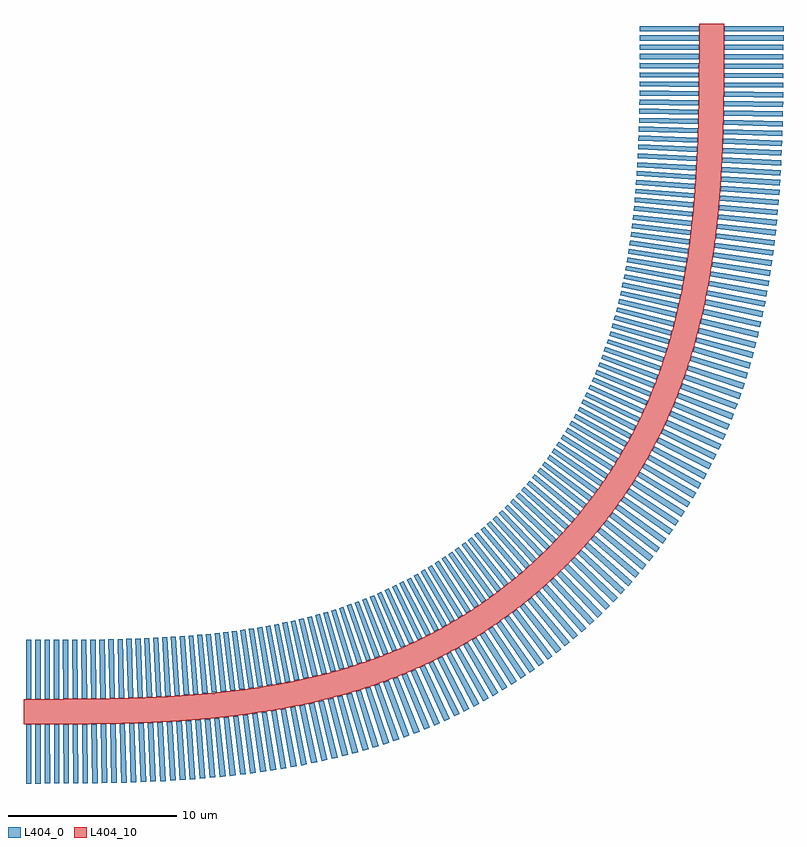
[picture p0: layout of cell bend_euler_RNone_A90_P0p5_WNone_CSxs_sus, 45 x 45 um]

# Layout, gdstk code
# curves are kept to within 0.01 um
import gdstk
lib = gdstk.Library(unit=1e-6, precision=1e-09)
def P(c, l, *ps):  # polygons
    for p in ps: c.add(gdstk.Polygon(p, *l))
L404_0 = (404, 0)
L404_10 = (404, 10)

bend_euler_rnone_a90_p0p = lib.new_cell('bend_euler_RNone_A90_P0p5_WNone_CSxs_sus')
P(bend_euler_rnone_a90_p0p, L404_0, [(22.511,-1.533),(21.313,1.756),(21.619,1.869),(22.852,-1.406)],
  [(23.114,-1.307),(21.854,1.959),(22.159,2.078),(23.454,-1.173)],
  [(23.715,-1.068),(22.393,2.172),(22.695,2.298),(24.053,-0.928)],
  [(22.333,3.774),(20.948,6.988),(21.197,7.097),(22.618,3.899)],
  [(22.836,3.997),(21.388,7.183),(21.635,7.297),(23.118,4.127)],
  [(23.334,4.229),(21.824,7.386),(22.069,7.505),(23.614,4.365)],
  [(23.828,4.471),(22.256,7.598),(22.499,7.722),(24.105,4.612)],
  [(36.138,16.645),(33.028,18.251),(33.152,18.494),(36.279,16.922)],
  [(36.385,17.136),(33.245,18.681),(33.364,18.926),(36.521,17.416)],
  [(36.623,17.632),(33.453,19.115),(33.567,19.362),(36.753,17.914)],
  [(36.851,18.132),(33.653,19.553),(33.762,19.802),(36.976,18.417)],
  [(41.678,16.697),(38.452,18.055),(38.578,18.357),(41.818,17.035)],
  [(41.923,17.296),(38.672,18.591),(38.791,18.896),(42.057,17.636)],
  [(42.156,17.898),(38.881,19.131),(38.994,19.437),(42.283,18.239)],
  [(37.07,18.637),(33.844,19.995),(33.948,20.246),(37.189,18.924)],
  [(37.477,19.659),(34.201,20.891),(34.296,21.148),(37.585,19.95)],
  [(37.278,19.146),(34.026,20.441),(34.126,20.695),(37.392,19.435)],
  [(37.666,20.175),(34.368,21.347),(34.458,21.607),(37.768,20.469)],
  [(42.377,18.501),(39.079,19.673),(39.187,19.981),(42.496,18.843)],
  [(37.845,20.695),(34.526,21.807),(34.613,22.069),(37.942,20.99)],
  [(42.586,19.106),(39.267,20.219),(39.369,20.528),(42.699,19.449)],
  [(38.015,21.218),(34.678,22.272),(34.76,22.537),(38.107,21.515)],
  [(42.783,19.713),(39.446,20.767),(39.542,21.077),(42.89,20.056)],
  [(38.176,21.744),(34.821,22.741),(34.899,23.008),(38.263,22.042)],
  [(42.969,20.32),(39.614,21.317),(39.705,21.629),(43.069,20.663)],
  [(38.329,22.273),(34.958,23.214),(35.031,23.483),(38.411,22.572)],
  [(43.144,20.928),(39.773,21.869),(39.859,22.182),(43.239,21.272)],
  [(38.472,22.803),(35.087,23.691),(35.156,23.962),(38.55,23.105)],
  [(43.309,21.536),(39.923,22.423),(40.004,22.737),(43.397,21.88)],
  [(38.607,23.337),(35.208,24.171),(35.274,24.444),(38.68,23.639)],
  [(43.463,22.144),(40.064,22.979),(40.14,23.294),(43.546,22.488)],
  [(38.735,23.872),(35.323,24.655),(35.385,24.93),(38.803,24.175)],
  [(43.608,22.753),(40.197,23.536),(40.268,23.851),(43.685,23.096)],
  [(38.854,24.409),(35.432,25.142),(35.49,25.419),(38.918,24.713)],
  [(43.743,23.361),(40.32,24.094),(40.387,24.41),(43.815,23.704)],
  [(38.965,24.947),(35.533,25.633),(35.588,25.911),(39.025,25.252)],
  [(43.868,23.968),(40.436,24.653),(40.498,24.97),(43.935,24.311)],
  [(39.069,25.487),(35.628,26.126),(35.679,26.406),(39.125,25.793)],
  [(43.985,24.574),(40.544,25.213),(40.602,25.53),(44.048,24.917)],
  [(39.166,26.029),(35.717,26.623),(35.764,26.904),(39.218,26.335)],
  [(44.094,25.18),(40.644,25.774),(40.698,26.091),(44.151,25.522)],
  [(39.256,26.571),(35.8,27.122),(35.844,27.405),(39.304,26.878)],
  [(44.194,25.785),(40.737,26.335),(40.787,26.653),(44.247,26.126)],
  [(39.339,27.115),(35.876,27.624),(35.917,27.908),(39.383,27.423)],
  [(44.286,26.388),(40.823,26.897),(40.869,27.214),(44.335,26.729)],
  [(39.416,27.66),(35.948,28.128),(35.985,28.414),(39.457,27.968)],
  [(44.371,26.99),(40.903,27.459),(40.944,27.776),(44.416,27.33)],
  [(39.487,28.205),(36.013,28.635),(36.048,28.923),(39.524,28.514)],
  [(44.449,27.591),(40.975,28.021),(41.014,28.338),(44.49,27.929)],
  [(39.551,28.751),(36.073,29.144),(36.105,29.433),(39.585,29.06)],
  [(44.52,28.19),(41.042,28.583),(41.077,28.9),(44.557,28.527)],
  [(39.61,29.298),(36.129,29.656),(36.158,29.946),(39.641,29.607)],
  [(44.584,28.787),(41.102,29.145),(41.134,29.462),(44.618,29.124)],
  [(39.664,29.845),(36.179,30.17),(36.205,30.461),(39.692,30.155)],
  [(44.642,29.382),(41.157,29.706),(41.186,30.024),(44.673,29.718)],
  [(39.712,30.393),(36.224,30.686),(36.248,30.978),(39.737,30.703)],
  [(44.695,29.976),(41.207,30.268),(41.233,30.585),(44.722,30.31)],
  [(39.756,30.942),(36.266,31.203),(36.287,31.497),(39.778,31.252)],
  [(44.742,30.567),(41.252,30.829),(41.275,31.146),(44.766,30.901)],
  [(39.795,31.49),(36.302,31.723),(36.321,32.018),(39.815,31.8)],
  [(44.784,31.157),(41.291,31.39),(41.312,31.707),(44.805,31.489)],
  [(39.829,32.039),(36.335,32.245),(36.352,32.541),(39.847,32.349)],
  [(44.82,31.744),(41.327,31.951),(41.345,32.267),(44.839,32.075)],
  [(39.86,32.588),(36.364,32.769),(36.379,33.066),(39.875,32.899)],
  [(44.853,32.33),(41.358,32.511),(41.373,32.827),(44.869,32.659)],
  [(39.886,33.138),(36.39,33.295),(36.403,33.593),(39.9,33.448)],
  [(44.881,32.913),(41.385,33.07),(41.398,33.386),(44.895,33.241)],
  [(39.909,33.687),(36.412,33.822),(36.423,34.121),(39.921,33.998)],
  [(44.905,33.494),(41.408,33.629),(41.42,33.945),(44.917,33.821)],
  [(39.929,34.237),(36.431,34.352),(36.44,34.652),(39.938,34.547)],
  [(44.926,34.072),(41.428,34.187),(41.438,34.503),(44.936,34.398)],
  [(39.945,34.787),(36.447,34.883),(36.455,35.184),(39.953,35.097)],
  [(44.943,34.649),(41.445,34.745),(41.453,35.06),(44.952,34.974)],
  [(39.959,35.336),(36.46,35.416),(36.466,35.718),(39.966,35.647)],
  [(44.958,35.223),(41.459,35.302),(41.465,35.617),(44.965,35.546)],
  [(39.97,35.886),(36.471,35.95),(36.476,36.253),(39.976,36.197)],
  [(44.97,35.795),(41.47,35.859),(41.476,36.173),(44.975,36.117)],
  [(39.979,36.436),(36.48,36.486),(36.484,36.79),(39.983,36.747)],
  [(44.979,36.364),(41.479,36.415),(41.483,36.728),(44.983,36.685)],
  [(39.986,36.986),(36.486,37.024),(36.49,37.329),(39.989,37.297)],
  [(44.986,36.931),(41.486,36.97),(41.489,37.283),(44.989,37.251)],
  [(39.991,37.536),(36.492,37.564),(36.494,37.87),(39.994,37.847)],
  [(44.991,37.496),(41.491,37.524),(41.494,37.837),(44.994,37.814)],
  [(39.995,38.086),(36.495,38.105),(36.497,38.412),(39.997,38.397)],
  [(44.995,38.059),(41.495,38.078),(41.497,38.39),(44.997,38.376)],
  [(39.998,38.636),(36.498,38.648),(36.499,38.956),(39.998,38.947)],
  [(44.998,38.619),(41.498,38.631),(41.498,38.943),(44.998,38.934)],
  [(39.999,39.186),(36.499,39.193),(36.499,39.501),(39.999,39.497)],
  [(44.999,39.177),(41.499,39.183),(41.499,39.495),(44.999,39.491)],
  [(40,39.736),(36.5,39.739),(36.5,40.048),(40,40.047)],
  [(45,39.732),(41.5,39.735),(41.5,40.046),(45,40.045)],
  [(40,40.286),(36.5,40.287),(36.5,40.597),(40,40.597)],
  [(45,40.285),(41.5,40.286),(41.5,40.597),(45,40.597)],
  [(4.003,0.767),(3.96,4.266),(4.264,4.27),(4.314,0.771)],
  [(4.065,-4.233),(4.022,-0.733),(4.335,-0.729),(4.386,-4.229)],
  [(4.553,0.774),(4.497,4.274),(4.8,4.279),(4.864,0.78)],
  [(4.633,-4.225),(4.577,-0.726),(4.891,-0.72),(4.955,-4.22)],
  [(5.103,0.784),(5.032,4.284),(5.334,4.29),(5.414,0.791)],
  [(5.204,-4.215),(5.133,-0.715),(5.448,-0.709),(5.527,-4.208)],
  [(5.653,0.797),(5.566,4.295),(5.867,4.303),(5.963,0.805)],
  [(5.776,-4.202),(5.69,-0.703),(6.005,-0.695),(6.101,-4.193)],
  [(6.203,0.812),(6.098,4.31),(6.398,4.319),(6.513,0.821)],
  [(6.352,-4.186),(6.247,-0.688),(6.563,-0.678),(6.678,-4.176)],
  [(6.752,0.829),(6.629,4.327),(6.928,4.338),(7.063,0.841)],
  [(6.929,-4.167),(6.805,-0.67),(7.121,-0.658),(7.256,-4.155)],
  [(7.302,0.85),(7.157,4.347),(7.455,4.36),(7.612,0.864)],
  [(7.509,-4.145),(7.364,-0.648),(7.68,-0.635),(7.837,-4.131)],
  [(7.851,0.875),(7.684,4.371),(7.981,4.386),(8.162,0.89)],
  [(8.091,-4.119),(7.923,-0.623),(8.239,-0.608),(8.42,-4.103)],
  [(8.401,0.903),(8.209,4.398),(8.505,4.415),(8.711,0.921)],
  [(8.675,-4.089),(8.483,-0.595),(8.799,-0.577),(9.006,-4.07)],
  [(8.95,0.935),(8.732,4.429),(9.027,4.448),(9.26,0.955)],
  [(9.261,-4.055),(9.043,-0.562),(9.36,-0.541),(9.593,-4.034)],
  [(9.498,0.972),(9.253,4.463),(9.547,4.484),(9.808,0.994)],
  [(9.849,-4.016),(9.604,-0.525),(9.921,-0.502),(10.183,-3.992)],
  [(10.047,1.013),(9.772,4.502),(10.064,4.526),(10.357,1.038)],
  [(10.44,-3.972),(10.165,-0.483),(10.482,-0.457),(10.774,-3.945)],
  [(10.595,1.058),(10.289,4.545),(10.58,4.571),(10.905,1.086)],
  [(11.032,-3.923),(10.726,-0.436),(11.044,-0.407),(11.368,-3.892)],
  [(11.143,1.109),(10.804,4.592),(11.094,4.621),(11.452,1.14)],
  [(11.626,-3.868),(11.288,-0.384),(11.605,-0.352),(11.963,-3.834)],
  [(11.69,1.165),(11.317,4.645),(11.606,4.677),(11.999,1.199)],
  [(12.223,-3.807),(11.85,-0.327),(12.167,-0.292),(12.56,-3.77)],
  [(12.236,1.226),(11.827,4.702),(12.115,4.737),(12.545,1.263)],
  [(12.821,-3.74),(12.412,-0.264),(12.729,-0.225),(13.159,-3.699)],
  [(12.782,1.293),(12.336,4.765),(12.622,4.802),(13.09,1.334)],
  [(13.42,-3.666),(12.974,-0.194),(13.291,-0.153),(13.76,-3.621)],
  [(13.327,1.367),(12.842,4.833),(13.126,4.874),(13.635,1.411)],
  [(14.021,-3.585),(13.536,-0.119),(13.853,-0.073),(14.362,-3.536)],
  [(13.872,1.446),(13.345,4.906),(13.628,4.95),(14.179,1.494)],
  [(14.624,-3.497),(14.097,-0.037),(14.415,0.013),(14.965,-3.444)],
  [(14.415,1.532),(13.846,4.986),(14.127,5.033),(14.721,1.584)],
  [(15.228,-3.401),(14.659,0.052),(14.976,0.106),(15.57,-3.344)],
  [(14.957,1.625),(14.344,5.071),(14.624,5.122),(15.263,1.681)],
  [(15.833,-3.298),(15.22,0.148),(15.537,0.206),(16.176,-3.235)],
  [(15.498,1.725),(14.839,5.162),(15.117,5.217),(15.803,1.785)],
  [(16.439,-3.185),(15.78,0.252),(16.097,0.314),(16.782,-3.118)],
  [(16.037,1.832),(15.331,5.26),(15.608,5.318),(16.341,1.896)],
  [(17.046,-3.065),(16.34,0.363),(16.656,0.43),(17.389,-2.993)],
  [(16.575,1.947),(15.82,5.365),(16.095,5.427),(16.878,2.015)],
  [(17.654,-2.935),(16.899,0.482),(17.214,0.553),(17.997,-2.858)],
  [(17.111,2.07),(16.306,5.476),(16.579,5.542),(17.413,2.143)],
  [(18.262,-2.796),(17.456,0.61),(17.771,0.686),(18.606,-2.713)],
  [(17.645,2.2),(16.788,5.594),(17.059,5.663),(17.947,2.278)],
  [(18.87,-2.647),(18.013,0.746),(18.327,0.827),(19.214,-2.559)],
  [(18.178,2.339),(17.267,5.719),(17.536,5.792),(18.477,2.421)],
  [(19.478,-2.489),(18.568,0.891),(18.881,0.977),(19.822,-2.394)],
  [(18.708,2.487),(17.742,5.851),(18.009,5.929),(19.006,2.574)],
  [(20.087,-2.319),(19.121,1.045),(19.433,1.136),(20.43,-2.219)],
  [(19.235,2.643),(18.213,5.99),(18.478,6.072),(19.532,2.735)],
  [(20.694,-2.14),(19.673,1.208),(19.983,1.304),(21.037,-2.033)],
  [(19.76,2.808),(18.681,6.137),(18.943,6.224),(20.055,2.905)],
  [(21.301,-1.949),(20.222,1.381),(20.531,1.483),(21.644,-1.836)],
  [(20.281,2.982),(19.143,6.292),(19.403,6.382),(20.575,3.084)],
  [(21.907,-1.746),(20.769,1.563),(21.077,1.671),(22.249,-1.627)],
  [(20.8,3.165),(19.602,6.454),(19.859,6.549),(21.091,3.273)],
  [(0.153,0.75),(0.153,4.25),(0.463,4.25),(0.464,0.75)],
  [(21.315,3.358),(20.055,6.624),(20.309,6.724),(21.604,3.472)],
  [(0.153,-4.25),(0.153,-0.75),(0.464,-0.75),(0.465,-4.25)],
  [(21.826,3.561),(20.504,6.802),(20.755,6.906),(22.113,3.68)],
  [(0.703,0.75),(0.702,4.25),(1.011,4.25),(1.014,0.75)],
  [(0.705,-4.25),(0.704,-0.75),(1.015,-0.75),(1.018,-4.25)],
  [(1.253,0.751),(1.249,4.251),(1.557,4.251),(1.564,0.751)],
  [(1.259,-4.249),(1.255,-0.749),(1.567,-0.749),(1.573,-4.249)],
  [(1.803,0.752),(1.794,4.251),(2.102,4.252),(2.114,0.752)],
  [(1.816,-4.248),(1.807,-0.748),(2.119,-0.748),(2.131,-4.248)],
  [(2.353,0.753),(2.338,4.253),(2.645,4.255),(2.664,0.755)],
  [(2.374,-4.247),(2.36,-0.747),(2.672,-0.745),(2.691,-4.245)],
  [(2.903,0.756),(2.88,4.256),(3.186,4.258),(3.214,0.759)],
  [(2.936,-4.244),(2.913,-0.744),(3.226,-0.741),(3.254,-4.241)],
  [(3.453,0.761),(3.421,4.26),(3.726,4.264),(3.764,0.764)],
  [(3.499,-4.239),(3.467,-0.739),(3.78,-0.736),(3.819,-4.236)],
  [(27.139,6.431),(25.153,9.313),(25.376,9.469),(27.394,6.609)],
  [(29.975,2.313),(27.99,5.196),(28.258,5.383),(30.276,2.523)],
  [(27.589,6.748),(25.547,9.59),(25.767,9.75),(27.84,6.93)],
  [(30.505,2.686),(28.464,5.529),(28.728,5.722),(30.802,2.902)],
  [(28.032,7.073),(25.935,9.875),(26.152,10.039),(28.28,7.26)],
  [(31.028,3.07),(28.931,5.872),(29.192,6.069),(31.32,3.291)],
  [(28.469,7.407),(26.317,10.167),(26.531,10.335),(28.713,7.599)],
  [(31.543,3.463),(29.391,6.223),(29.648,6.426),(31.831,3.69)],
  [(28.9,7.749),(26.694,10.467),(26.904,10.639),(29.14,7.946)],
  [(32.05,3.866),(29.845,6.584),(30.098,6.792),(32.333,4.099)],
  [(29.323,8.1),(27.065,10.774),(27.272,10.95),(29.56,8.302)],
  [(32.549,4.28),(30.291,6.954),(30.54,7.166),(32.828,4.518)],
  [(29.74,8.459),(27.429,11.088),(27.633,11.268),(29.972,8.665)],
  [(33.04,4.703),(30.73,7.332),(30.975,7.549),(33.314,4.946)],
  [(30.149,8.826),(27.788,11.409),(27.988,11.594),(30.378,9.037)],
  [(33.523,5.135),(31.162,7.719),(31.402,7.941),(33.792,5.384)],
  [(30.552,9.201),(28.14,11.737),(28.336,11.926),(30.776,9.416)],
  [(33.997,5.577),(31.585,8.114),(31.821,8.341),(34.261,5.831)],
  [(30.947,9.584),(28.485,12.072),(28.678,12.265),(31.166,9.803)],
  [(34.462,6.029),(32.001,8.517),(32.233,8.749),(34.721,6.288)],
  [(31.334,9.974),(28.824,12.414),(29.013,12.61),(31.549,10.198)],
  [(34.919,6.489),(32.409,8.929),(32.636,9.165),(35.173,6.753)],
  [(31.713,10.372),(29.156,12.762),(29.341,12.962),(31.924,10.601)],
  [(35.366,6.958),(32.809,9.348),(33.031,9.588),(35.615,7.227)],
  [(32.085,10.778),(29.482,13.117),(29.662,13.321),(32.291,11.01)],
  [(35.804,7.436),(33.201,9.775),(33.418,10.02),(36.047,7.71)],
  [(32.448,11.19),(29.8,13.478),(29.976,13.685),(32.65,11.427)],
  [(36.232,7.922),(33.584,10.21),(33.796,10.459),(36.47,8.201)],
  [(32.804,11.61),(30.111,13.846),(30.283,14.056),(33.001,11.85)],
  [(36.651,8.417),(33.958,10.652),(34.166,10.905),(36.884,8.7)],
  [(33.151,12.037),(30.415,14.219),(30.583,14.433),(33.343,12.281)],
  [(37.06,8.919),(34.324,11.102),(34.527,11.359),(37.287,9.207)],
  [(33.49,12.47),(30.711,14.598),(30.875,14.815),(33.677,12.718)],
  [(37.459,9.43),(34.681,11.558),(34.878,11.819),(37.68,9.722)],
  [(33.82,12.91),(31,14.983),(31.16,15.203),(34.002,13.161)],
  [(37.848,9.948),(35.028,12.022),(35.221,12.286),(38.064,10.245)],
  [(34.141,13.356),(31.281,15.374),(31.437,15.597),(34.319,13.611)],
  [(38.227,10.474),(35.367,12.492),(35.554,12.76),(38.437,10.775)],
  [(34.454,13.809),(31.555,15.77),(31.706,15.996),(34.626,14.067)],
  [(38.595,11.008),(35.696,12.969),(35.878,13.241),(38.799,11.312)],
  [(34.757,14.267),(31.82,16.171),(31.967,16.4),(34.925,14.529)],
  [(38.953,11.548),(36.016,13.452),(36.193,13.727),(39.151,11.857)],
  [(35.052,14.732),(32.078,16.577),(32.22,16.809),(35.214,14.997)],
  [(39.3,12.095),(36.327,13.941),(36.498,14.22),(39.492,12.408)],
  [(35.337,15.202),(32.328,16.989),(32.465,17.224),(35.495,15.47)],
  [(39.637,12.649),(36.627,14.436),(36.793,14.719),(39.822,12.965)],
  [(35.614,15.678),(32.57,17.405),(32.702,17.642),(35.765,15.949)],
  [(39.962,13.21),(36.918,14.937),(37.078,15.223),(40.141,13.529)],
  [(35.88,16.159),(32.803,17.826),(32.931,18.066),(36.027,16.433)],
  [(40.276,13.777),(37.199,15.444),(37.354,15.733),(40.449,14.1)],
  [(24.312,-0.818),(22.927,2.397),(23.227,2.528),(24.648,-0.671)],
  [(40.58,14.35),(37.47,15.956),(37.619,16.248),(40.746,14.676)],
  [(25.492,-0.281),(23.982,2.876),(24.276,3.019),(25.822,-0.121)],
  [(40.871,14.928),(37.731,16.474),(37.874,16.768),(41.031,15.258)],
  [(24.905,-0.555),(23.457,2.631),(23.754,2.768),(25.237,-0.402)],
  [(41.152,15.513),(37.982,16.996),(38.119,17.293),(41.305,15.845)],
  [(26.074,0.004),(24.502,3.131),(24.794,3.28),(26.4,0.17)],
  [(41.421,16.102),(38.222,17.523),(38.353,17.823),(41.568,16.438)],
  [(24.317,4.723),(22.684,7.819),(22.924,7.947),(24.591,4.87)],
  [(26.65,0.301),(25.017,3.396),(25.306,3.551),(26.973,0.474)],
  [(24.801,4.985),(23.108,8.048),(23.345,8.18),(25.072,5.136)],
  [(27.221,0.609),(25.527,3.672),(25.813,3.832),(27.54,0.788)],
  [(25.28,5.255),(23.526,8.285),(23.761,8.422),(25.548,5.413)],
  [(27.785,0.928),(26.031,3.957),(26.314,4.123),(28.101,1.113)],
  [(25.753,5.536),(23.941,8.53),(24.173,8.672),(26.018,5.698)],
  [(28.342,1.258),(26.53,4.252),(26.809,4.423),(28.655,1.45)],
  [(26.221,5.825),(24.35,8.783),(24.579,8.93),(26.483,5.993)],
  [(28.893,1.599),(27.023,4.557),(27.298,4.734),(29.202,1.797)],
  [(26.683,6.124),(24.754,9.044),(24.98,9.195),(26.941,6.296)],
  [(29.438,1.951),(27.509,4.872),(27.781,5.054),(29.742,2.155)])
P(bend_euler_rnone_a90_p0p, L404_10, [(0,-0.75),(0,0.75),(3.892,0.765),(6.832,0.832),(7.898,0.877),(9.493,0.971),(10.686,1.066),(11.743,1.17),(12.928,1.312),(13.976,1.462),(15.02,1.636),(16.057,1.836),(17.087,2.064),(18.11,2.321),(19.122,2.608),(19.999,2.886),(20.989,3.235),(21.723,3.519),(22.568,3.876),(23.164,4.148),(23.87,4.492),(24.567,4.856),(25.253,5.24),(25.928,5.642),(26.592,6.064),(27.351,6.578),(27.987,7.039),(28.714,7.599),(29.321,8.098),(29.915,8.613),(30.493,9.145),(31.057,9.693),(31.605,10.257),(32.137,10.835),(32.652,11.429),(33.151,12.036),(33.711,12.763),(34.172,13.399),(34.686,14.158),(35.108,14.822),(35.51,15.497),(35.894,16.183),(36.258,16.88),(36.602,17.586),(36.874,18.182),(37.231,19.027),(37.515,19.761),(37.864,20.751),(38.142,21.628),(38.429,22.64),(38.686,23.663),(38.914,24.693),(39.114,25.73),(39.288,26.774),(39.438,27.822),(39.58,29.007),(39.684,30.064),(39.779,31.257),(39.873,32.852),(39.918,33.918),(39.985,36.858),(40,40.75),(41.5,40.75),(41.488,37.111),(41.431,34.27),(41.311,31.694),(41.153,29.659),(41.041,28.575),(40.889,27.356),(40.728,26.274),(40.566,25.331),(40.383,24.389),(40.146,23.318),(39.878,22.253),(39.656,21.459),(39.373,20.539),(39.016,19.496),(38.724,18.722),(38.356,17.829),(38.018,17.073),(37.597,16.204),(37.213,15.47),(36.74,14.628),(36.313,13.918),(35.789,13.106),(35.159,12.2),(34.664,11.536),(34.063,10.779),(33.529,10.147),(32.977,9.529),(32.215,8.73),(31.524,8.055),(30.811,7.403),(30.183,6.863),(29.432,6.255),(28.773,5.754),(27.986,5.193),(27.298,4.733),(26.36,4.15),(25.522,3.669),(24.546,3.153),(23.677,2.732),(22.921,2.394),(22.028,2.026),(21.254,1.734),(20.211,1.377),(19.291,1.094),(18.497,0.872),(17.432,0.604),(16.361,0.367),(15.419,0.184),(14.476,0.022),(13.394,-0.139),(12.175,-0.291),(11.091,-0.403),(9.056,-0.561),(6.48,-0.681),(3.639,-0.738)])

lib.write_gds('bend_euler_RNone_A90_P0p5_WNone_CSxs_sus.gds')
